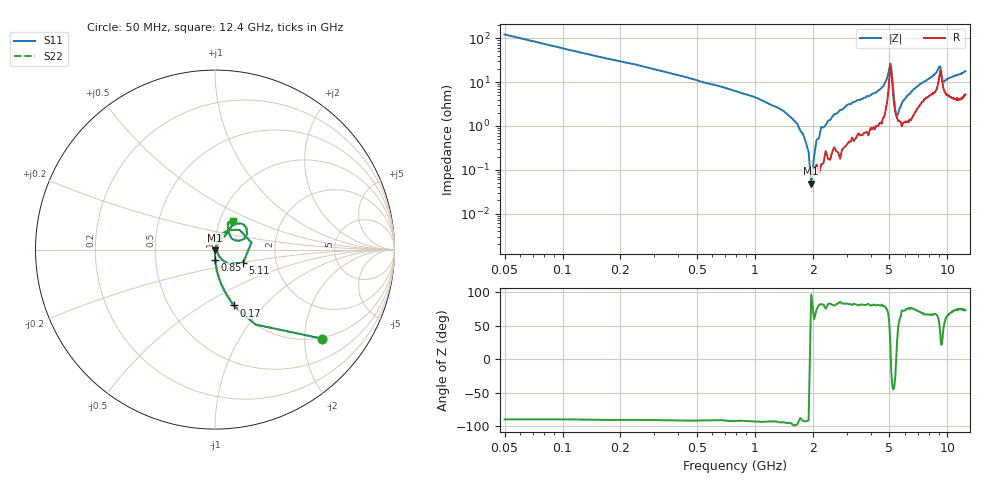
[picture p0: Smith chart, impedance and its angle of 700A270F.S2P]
!  American Technical Ceramics  Date:  3/13/98
!  One Norden Lane
!  Huntington Station,  NY.  11746-2102
!  Tel:  (516) 547-5700  Fax:  (516) 547-5748
!  Part Number  700A270F
!  Description: Porcelain, High Q, Low ESR
!  Application: Bypass, Coupling, Timing, Feedback
!  Tuning, Impedance Match, Blocking
# GHZ S DB R 50
! Freq  |S11|  S11 Ph  |S21|  S21 Ph  |S12|  S12 Ph  |S22|  S22 Ph
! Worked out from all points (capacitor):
!   201 points, 50 MHz to 12.4 GHz, reference 50 ohm
!   read as one part in series: C = 26.9 pF near 110 MHz
!   lowest |Z| = 47.8 mohm at 1.96 GHz (marker M1)
!   series resonance near 1.951 GHz, so ESL is about 250 pH
!   S11 on the Smith chart (normalised r, x): 50 MHz: 0.98, -2.42; 170 MHz: 0.99, -0.69; 850 MHz: 1.00, -0.12; 5.11 GHz: 1.36, -0.20; 12.4 GHz: 1.15, +0.38
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0.05  -2.22 -39.8  -4.00 50.2  -4.00 50.2  -2.22 -39.8
0.11  -6.47 -61.6  -1.06 28.1  -1.06 28.1  -6.47 -61.6
0.17  -9.68 -71.7  -0.44 19.1  -0.44 19.1  -9.68 -71.7
0.54  -19.97 -85.7  -0.02 5.5  -0.02 5.5  -19.97 -85.7
0.85  -24.68 -89.0  0.00 3.1  0.00 3.1  -24.68 -89.0
1.66  -37.10 -91.5  0.02 0.5  0.02 0.5  -37.10 -91.5
1.96  -49.79 -71.3  0.01 -0.2  0.01 -0.2  -49.79 -71.3
2.03  -53.60 -9.7  0.00 -0.2  0.00 -0.2  -53.60 -9.7
2.15  -49.84 57.9  0.00 -0.4  0.00 -0.4  -49.84 57.9
2.27  -42.49 67.0  0.00 -0.6  0.00 -0.6  -42.49 67.0
2.64  -34.99 74.5  -0.01 -1.1  -0.01 -1.1  -34.99 74.5
4.19  -26.18 71.0  -0.04 -3.6  -0.04 -3.6  -26.18 71.0
4.68  -22.55 69.3  -0.12 -5.4  -0.12 -5.4  -22.55 69.3
4.99  -15.12 38.8  -1.01 -9.7  -1.01 -9.7  -15.12 38.8
5.11  -15.23 -24.8  -1.62 1.8  -1.62 1.8  -15.23 -24.8
5.55  -38.62 -11.2  -0.12 -1.8  -0.12 -1.8  -38.62 -11.2
6.23  -29.39 64.3  -0.11 -3.8  -0.11 -3.8  -29.39 64.3
8.32  -17.33 54.1  -0.36 -6.6  -0.36 -6.6  -17.33 54.1
9.13  -13.45 34.5  -1.19 -8.0  -1.19 -8.0  -13.45 34.5
9.44  -19.04 33.6  -0.67 -2.1  -0.67 -2.1  -19.04 33.6
10.36  -16.59 60.7  -0.32 -5.1  -0.32 -5.1  -16.59 60.7
12.4  -14.56 57.8  -0.32 -8.5  -0.32 -8.5  -14.56 57.8
